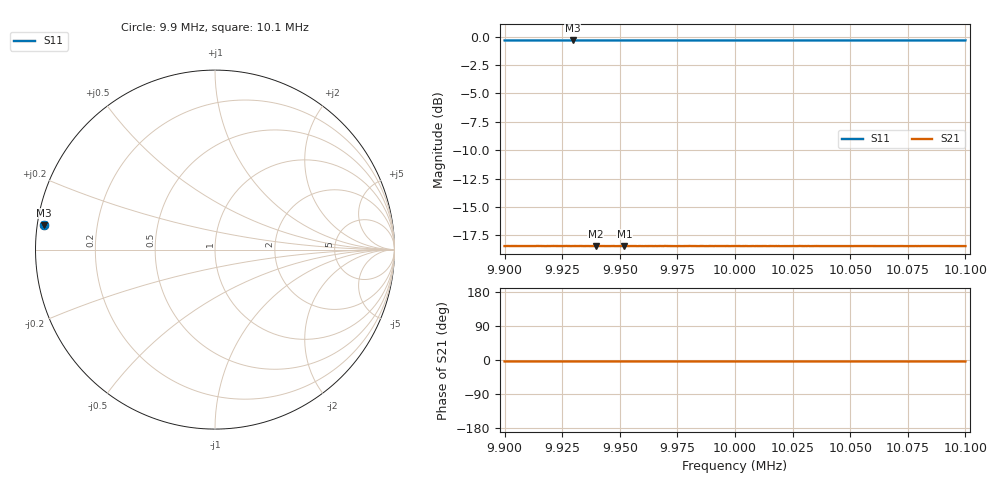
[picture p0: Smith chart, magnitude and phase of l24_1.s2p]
! NanoVNA-App
! Date: 2026-10-13 22:07:27
! Start: 9,9MHz Stop: 10,1MHz Points: 401
! S-Parameter data: F S11 S21 S12 S22
# Hz S RI R 50
!  Frequency  S11_Real  S11_Imag  S21_Real  S21_Imag  S12_Real  S12_Imag  S22_Real  S22_Imag
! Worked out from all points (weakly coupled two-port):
!   401 points, 9.9 MHz to 10.1 MHz, reference 50 ohm
!   highest |S21| = -18.43 dB at 9.952 MHz (marker M1); lowest = -18.5 dB at 9.9395 MHz (marker M2)
!   lowest |S11| = -0.3 dB at 9.9295 MHz (marker M3), VSWR 51.33, Z = 0.979 + j3.58 ohm
!   |S11| at or under -10 dB: nowhere
!   S12 and S22 are empty: the file has one direction only
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9900000  -0.9522 0.1367  0.1193 -0.00799  0 0  0 0
9915000  -0.9522 0.1367  0.1193 -0.00812  0 0  0 0
9918500  -0.9522 0.1369  0.1194 -0.00807  0 0  0 0
9927000  -0.9522 0.137  0.1195 -0.00805  0 0  0 0
9929500  -0.952 0.137  0.1193 -0.00809  0 0  0 0
9933500  -0.9521 0.137  0.1193 -0.00815  0 0  0 0
9939500  -0.9521 0.1372  0.1192 -0.00805  0 0  0 0
9949000  -0.9521 0.1373  0.1193 -0.00811  0 0  0 0
9952000  -0.9522 0.1373  0.1195 -0.00809  0 0  0 0
9960500  -0.9522 0.1373  0.1192 -0.00806  0 0  0 0
9967000  -0.9521 0.1376  0.1193 -0.00809  0 0  0 0
1e7  -0.952 0.138  0.1193 -0.00817  0 0  0 0
1.00065e7  -0.952 0.1381  0.1193 -0.00813  0 0  0 0
1.0017e7  -0.952 0.1382  0.1193 -0.00815  0 0  0 0
1.00195e7  -0.952 0.1381  0.1192 -0.00817  0 0  0 0
1.0028e7  -0.9519 0.1383  0.1194 -0.00818  0 0  0 0
1.00335e7  -0.9519 0.1384  0.1193 -0.00817  0 0  0 0
1.00355e7  -0.9519 0.1386  0.1194 -0.00817  0 0  0 0
1.0044e7  -0.952 0.1386  0.1192 -0.00818  0 0  0 0
1.00515e7  -0.9519 0.1386  0.1194 -0.00832  0 0  0 0
1.0067e7  -0.952 0.1389  0.1193 -0.0081  0 0  0 0
1.01e7  -0.9519 0.1393  0.1193 -0.00823  0 0  0 0
